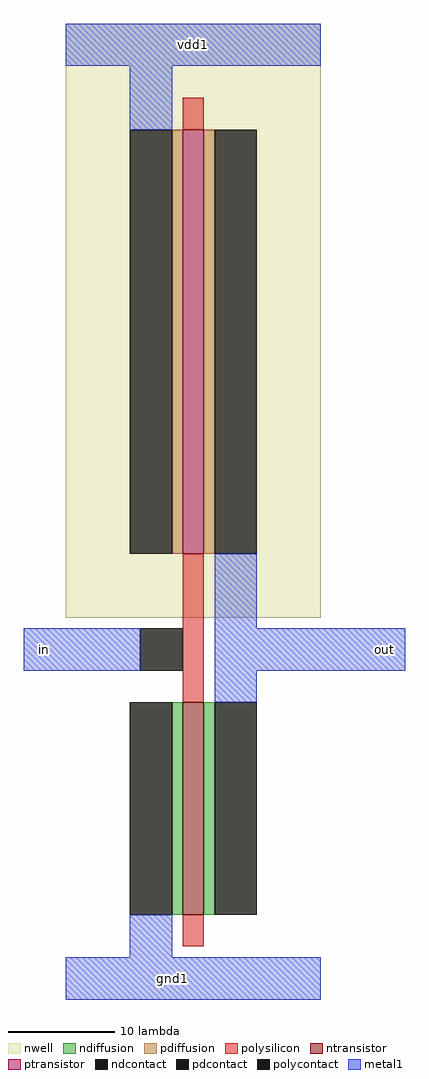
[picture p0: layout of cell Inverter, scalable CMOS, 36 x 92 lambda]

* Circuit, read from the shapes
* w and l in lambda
.subckt Inverter gnd1 in out vdd1
M1 out in gnd1 VSUBS nfet w=20 l=2
M2 out in vdd1 n1 pfet w=40 l=2
.ends

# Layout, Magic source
magic
tech scmos
<< nwell >>
rect 4 36 28 92
<< ntransistor >>
rect 15 8 17 28
<< ptransistor >>
rect 15 42 17 82
<< ndiffusion >>
rect 14 8 15 28
rect 17 8 18 28
<< pdiffusion >>
rect 14 42 15 82
rect 17 42 18 82
<< ndcontact >>
rect 10 8 14 28
rect 18 8 22 28
<< pdcontact >>
rect 10 42 14 82
rect 18 42 22 82
<< polysilicon >>
rect 15 82 17 85
rect 15 28 17 42
rect 15 5 17 8
<< polycontact >>
rect 11 31 15 35
<< metal1 >>
rect 4 88 28 92
rect 10 82 14 88
rect 18 35 22 42
rect 0 31 11 35
rect 18 31 36 35
rect 18 28 22 31
rect 10 4 14 8
rect 4 0 28 4
<< labels >>
rlabel metal1 0 31 4 35 3 in
rlabel metal1 12 0 16 4 1 gnd1
rlabel metal1 32 31 36 35 7 out
rlabel metal1 14 88 18 92 5 vdd1
<< end >>
